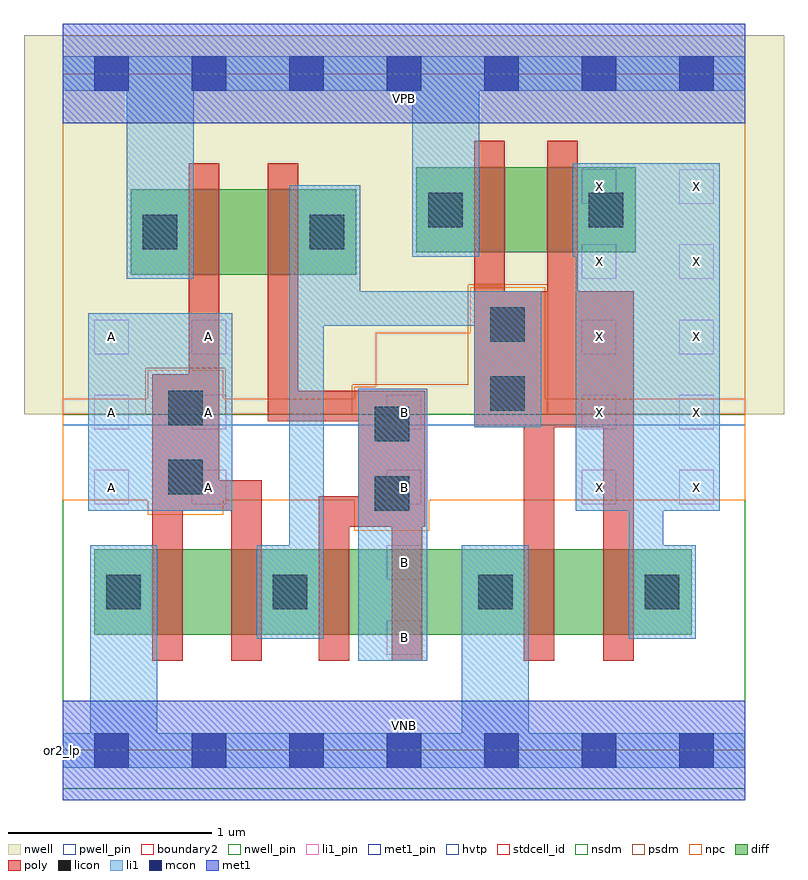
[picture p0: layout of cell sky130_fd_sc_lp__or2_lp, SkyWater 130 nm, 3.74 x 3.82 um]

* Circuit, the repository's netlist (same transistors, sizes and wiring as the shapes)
* Copyright 2020 The SkyWater PDK Authors
*
* Licensed under the Apache License, Version 2.0 (the "License");
* you may not use this file except in compliance with the License.
* You may obtain a copy of the License at
*
*     https://www.apache.org/licenses/LICENSE-2.0
*
* Unless required by applicable law or agreed to in writing, software
* distributed under the License is distributed on an "AS IS" BASIS,
* WITHOUT WARRANTIES OR CONDITIONS OF ANY KIND, either express or implied.
* See the License for the specific language governing permissions and
* limitations under the License.
*
* SPDX-License-Identifier: Apache-2.0

.SUBCKT sky130_fd_sc_lp__or2_lp A B VGND VNB VPB VPWR X
*.PININFO A:I B:I VGND:I VNB:I VPB:I VPWR:I X:O
MMP0 VPWR A sndPA VPB sky130_fd_pr__pfet_01v8_hvt m=1 w=0.42U l=0.15U mult=1 sa=0.265
+ sb=0.265 sd=0.28 area=0.063 perim=1.14
MMP1 sndPA B y VPB sky130_fd_pr__pfet_01v8_hvt m=1 w=0.42U l=0.15U mult=1 sa=0.265
+ sb=0.265 sd=0.28 area=0.063 perim=1.14
MMIP2 X y net19 VPB sky130_fd_pr__pfet_01v8_hvt m=1 w=0.42U l=0.15U mult=1 sa=0.265
+ sb=0.265 sd=0.28 area=0.063 perim=1.14
MI6 net19 y VPWR VPB sky130_fd_pr__pfet_01v8_hvt m=1 w=0.42U l=0.15U mult=1 sa=0.265
+ sb=0.265 sd=0.28 area=0.063 perim=1.14
MMN0 y A net43 VNB sky130_fd_pr__nfet_01v8 m=1 w=0.42U l=0.15U mult=1 sa=0.265
+ sb=0.265 sd=0.28 area=0.063 perim=1.14
MI7 net43 A VGND VNB sky130_fd_pr__nfet_01v8 m=1 w=0.42U l=0.15U mult=1 sa=0.265
+ sb=0.265 sd=0.28 area=0.063 perim=1.14
MMN1 y B net35 VNB sky130_fd_pr__nfet_01v8 m=1 w=0.42U l=0.15U mult=1 sa=0.265
+ sb=0.265 sd=0.28 area=0.063 perim=1.14
MMIN2 X y net47 VNB sky130_fd_pr__nfet_01v8 m=1 w=0.42U l=0.15U mult=1 sa=0.265
+ sb=0.265 sd=0.28 area=0.063 perim=1.14
MI8 net35 B VGND VNB sky130_fd_pr__nfet_01v8 m=1 w=0.42U l=0.15U mult=1 sa=0.265
+ sb=0.265 sd=0.28 area=0.063 perim=1.14
MI5 net47 y VGND VNB sky130_fd_pr__nfet_01v8 m=1 w=0.42U l=0.15U mult=1 sa=0.265
+ sb=0.265 sd=0.28 area=0.063 perim=1.14
.ENDS sky130_fd_sc_lp__or2_lp

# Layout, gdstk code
import gdstk
lib = gdstk.Library(unit=1e-6, precision=1e-09)
def R(c, l, rs):  # rectangles x0, y0, x1, y1
    for r in rs: c.add(gdstk.rectangle(r[:2], r[2:], *l))
def A(c, l, x, y, w, h, nx, ny, dx, dy):  # array of equal rectangles
    R(c, l, [(x+i*dx, y+j*dy, x+i*dx+w, y+j*dy+h) for i in range(nx) for j in range(ny)])
def P(c, l, *ps):  # polygons
    for p in ps: c.add(gdstk.Polygon(p, *l))
nwell_pin = (64, 16)
nwell = (64, 20)
diff = (65, 20)
poly = (66, 20)
licon = (66, 44)
li1_pin = (67, 16)
li1 = (67, 20)
mcon = (67, 44)
met1_pin = (68, 16)
met1 = (68, 20)
hvtp = (78, 44)
stdcell_id = (81, 4)
nsdm = (93, 44)
psdm = (94, 20)
npc = (95, 20)
pwell_pin = (122, 16)
boundary2 = (236, 0)

sky130_fd_sc_lp__or2_lp = lib.new_cell('sky130_fd_sc_lp__or2_lp')
R(sky130_fd_sc_lp__or2_lp, nwell_pin, [(0,3.085,3.36,3.33)])
R(sky130_fd_sc_lp__or2_lp, nwell, [(-0.19,1.655,3.55,3.52)])
R(sky130_fd_sc_lp__or2_lp, diff, [(0.155,0.57,3.095,0.99), (0.335,2.34,1.445,2.76), (1.74,2.45,2.82,2.87)])
P(sky130_fd_sc_lp__or2_lp, poly, [(0.98,1.33),(0.77,1.33),(0.77,2.89),(0.62,2.89),(0.62,1.85),(0.44,1.85),(0.44,0.44),(0.59,0.44),(0.59,1.18),(0.83,1.18),(0.83,0.44),(0.98,0.44)],
  [(1.785,1.77),(1.16,1.77),(1.16,2.89),(1.01,2.89),(1.01,1.62),(1.455,1.62),(1.455,1.25),(1.26,1.25),(1.26,0.44),(1.41,0.44),(1.41,1.1),(1.62,1.1),(1.62,0.44),(1.77,0.44),(1.77,1.1),(1.785,1.1)],
  [(2.81,2.26),(2.535,2.26),(2.535,3),(2.385,3),(2.385,2.26),(2.175,2.26),(2.175,3),(2.025,3),(2.025,1.59),(2.27,1.59),(2.27,0.44),(2.42,0.44),(2.42,1.59),(2.66,1.59),(2.66,0.44),(2.81,0.44)])
R(sky130_fd_sc_lp__or2_lp, licon, [(0.215,0.695,0.385,0.865), (1.035,0.695,1.205,0.865), (2.045,0.695,2.215,0.865), (2.865,0.695,3.035,0.865), (1.535,1.18,1.705,1.35), (0.52,1.26,0.69,1.43), (1.535,1.52,1.705,1.69), (0.52,1.6,0.69,1.77), (2.105,1.67,2.275,1.84), (2.105,2.01,2.275,2.18), (0.395,2.465,0.565,2.635), (1.215,2.465,1.385,2.635), (1.8,2.575,1.97,2.745), (2.59,2.575,2.76,2.745)])
A(sky130_fd_sc_lp__or2_lp, li1_pin, 0.155, 1.21, 0.17, 0.17, 1, 3, 0, 0.37)
A(sky130_fd_sc_lp__or2_lp, li1_pin, 0.635, 1.21, 0.17, 0.17, 3, 2, 0.96, 0.37)
A(sky130_fd_sc_lp__or2_lp, li1_pin, 3.035, 1.21, 0.17, 0.17, 1, 5, 0, 0.37)
A(sky130_fd_sc_lp__or2_lp, li1_pin, 2.555, 1.95, 0.17, 0.17, 1, 3, 0, 0.37)
R(sky130_fd_sc_lp__or2_lp, li1_pin, [(1.595,0.47,1.765,0.64), (1.595,0.84,1.765,1.01), (0.635,1.95,0.805,2.12)])
R(sky130_fd_sc_lp__or2_lp, li1, [(1.455,0.44,1.795,1.78), (0.125,1.18,0.835,2.15)])
P(sky130_fd_sc_lp__or2_lp, li1, [(1.72,2.43),(1.72,3.245),(0.645,3.245),(0.645,2.32),(0.315,2.32),(0.315,3.245),(0,3.245),(0,3.415),(3.36,3.415),(3.36,3.245),(2.05,3.245),(2.05,2.43)],
  [(0.135,0.085),(0.135,1.01),(0.465,1.01),(0.465,0.085),(1.965,0.085),(1.965,1.01),(2.295,1.01),(2.295,0.085),(3.36,0.085),(3.36,-0.085),(0,-0.085),(0,0.085)],
  [(2.025,1.59),(2.025,2.09),(1.285,2.09),(1.285,0.55),(0.955,0.55),(0.955,1.01),(1.115,1.01),(1.115,2.78),(1.465,2.78),(1.465,2.26),(2.355,2.26),(2.355,1.59)],
  [(2.955,1.18),(2.955,1.01),(3.115,1.01),(3.115,0.55),(2.785,0.55),(2.785,1.18),(2.525,1.18),(2.525,2.43),(2.51,2.43),(2.51,2.89),(3.235,2.89),(3.235,1.18)])
A(sky130_fd_sc_lp__or2_lp, mcon, 0.155, -0.085, 0.17, 0.17, 7, 2, 0.48, 3.33)
R(sky130_fd_sc_lp__or2_lp, met1_pin, [(0,0,3.36,0.245), (0,3.085,3.36,3.33)])
R(sky130_fd_sc_lp__or2_lp, met1, [(0,-0.245,3.36,0.245), (0,3.085,3.36,3.575)])
R(sky130_fd_sc_lp__or2_lp, hvtp, [(0,1.6,3.36,3.33)])
R(sky130_fd_sc_lp__or2_lp, stdcell_id, [(0,0,3.36,3.33)])
R(sky130_fd_sc_lp__or2_lp, nsdm, [(0,-0.19,3.36,1.655)])
P(sky130_fd_sc_lp__or2_lp, psdm, [(3.36,3.52),(0,3.52),(0,1.655),(0.41,1.655),(0.41,1.88),(0.8,1.88),(0.8,1.655),(1.425,1.655),(1.425,1.8),(1.995,1.8),(1.995,2.29),(2.385,2.29),(2.385,1.655),(3.36,1.655)])
P(sky130_fd_sc_lp__or2_lp, npc, [(3.36,1.73),(2.375,1.73),(2.375,2.28),(2.005,2.28),(2.005,2.055),(1.54,2.055),(1.54,1.79),(1.435,1.79),(1.435,1.73),(0.79,1.73),(0.79,1.87),(0.42,1.87),(0.42,1.73),(0,1.73),(0,1.23),(0.42,1.23),(0.42,1.16),(0.79,1.16),(0.79,1.23),(1.435,1.23),(1.435,1.08),(1.805,1.08),(1.805,1.23),(3.36,1.23)])
R(sky130_fd_sc_lp__or2_lp, pwell_pin, [(0,0,3.36,0.245)])
R(sky130_fd_sc_lp__or2_lp, boundary2, [(0,0,3.36,3.33)])
sky130_fd_sc_lp__or2_lp.add(gdstk.Label('VNB', (1.68,0.123), layer=64, texttype=59))
sky130_fd_sc_lp__or2_lp.add(gdstk.Label('VPB', (1.68,3.208), layer=64, texttype=5))
sky130_fd_sc_lp__or2_lp.add(gdstk.Label('or2_lp', (0,0), layer=83, texttype=44))
sky130_fd_sc_lp__or2_lp.add(gdstk.Label('VPWR', (1.68,3.208), layer=68, texttype=5))
sky130_fd_sc_lp__or2_lp.add(gdstk.Label('VGND', (1.68,0.123), layer=68, texttype=5))
sky130_fd_sc_lp__or2_lp.add(gdstk.Label('B', (1.68,0.555), layer=67, texttype=5))
sky130_fd_sc_lp__or2_lp.add(gdstk.Label('B', (1.68,0.925), layer=67, texttype=5))
sky130_fd_sc_lp__or2_lp.add(gdstk.Label('B', (1.68,1.295), layer=67, texttype=5))
sky130_fd_sc_lp__or2_lp.add(gdstk.Label('B', (1.68,1.665), layer=67, texttype=5))
sky130_fd_sc_lp__or2_lp.add(gdstk.Label('A', (0.24,1.295), layer=67, texttype=5))
sky130_fd_sc_lp__or2_lp.add(gdstk.Label('A', (0.24,1.665), layer=67, texttype=5))
sky130_fd_sc_lp__or2_lp.add(gdstk.Label('A', (0.24,2.035), layer=67, texttype=5))
sky130_fd_sc_lp__or2_lp.add(gdstk.Label('A', (0.72,1.295), layer=67, texttype=5))
sky130_fd_sc_lp__or2_lp.add(gdstk.Label('A', (0.72,1.665), layer=67, texttype=5))
sky130_fd_sc_lp__or2_lp.add(gdstk.Label('A', (0.72,2.035), layer=67, texttype=5))
sky130_fd_sc_lp__or2_lp.add(gdstk.Label('X', (2.64,1.295), layer=67, texttype=5))
sky130_fd_sc_lp__or2_lp.add(gdstk.Label('X', (2.64,1.665), layer=67, texttype=5))
sky130_fd_sc_lp__or2_lp.add(gdstk.Label('X', (2.64,2.035), layer=67, texttype=5))
sky130_fd_sc_lp__or2_lp.add(gdstk.Label('X', (2.64,2.405), layer=67, texttype=5))
sky130_fd_sc_lp__or2_lp.add(gdstk.Label('X', (2.64,2.775), layer=67, texttype=5))
sky130_fd_sc_lp__or2_lp.add(gdstk.Label('X', (3.12,1.295), layer=67, texttype=5))
sky130_fd_sc_lp__or2_lp.add(gdstk.Label('X', (3.12,1.665), layer=67, texttype=5))
sky130_fd_sc_lp__or2_lp.add(gdstk.Label('X', (3.12,2.035), layer=67, texttype=5))
sky130_fd_sc_lp__or2_lp.add(gdstk.Label('X', (3.12,2.405), layer=67, texttype=5))
sky130_fd_sc_lp__or2_lp.add(gdstk.Label('X', (3.12,2.775), layer=67, texttype=5))

lib.write_gds('sky130_fd_sc_lp__or2_lp.gds')
